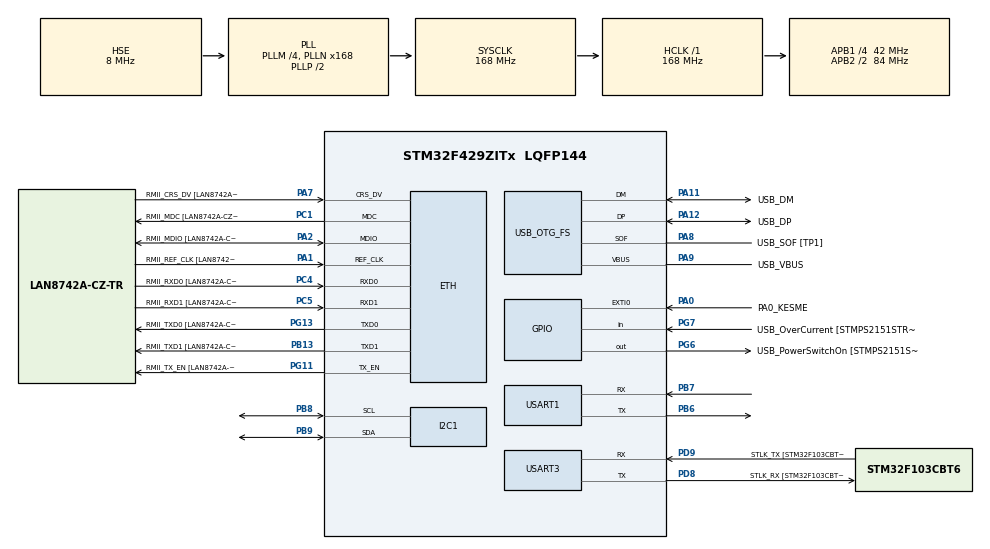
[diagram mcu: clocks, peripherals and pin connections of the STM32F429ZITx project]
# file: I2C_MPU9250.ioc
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ETH.MediaInterface=HAL_ETH_RMII_MODE
ETH.PHY_Name=LAN8742A_PHY_ADDRESS
ETH.PHY_Value=0
ETH.PhyAddress=0
Mcu.Family=STM32F4
Mcu.Name=STM32F429ZITx
Mcu.Package=LQFP144
NVIC.PriorityGroup=NVIC_PRIORITYGROUP_4
PA0/WKUP.GPIO_Label=PA0_KESME
PA0/WKUP.Signal=GPXTI0
PA1.GPIO_Label=RMII_REF_CLK [LAN8742A-CZ-TR_REFCLK0]
PA1.Mode=RMII
PA1.Signal=ETH_REF_CLK
PA11.GPIO_Label=USB_DM
PA11.Mode=Device_Only
PA11.Signal=USB_OTG_FS_DM
PA12.GPIO_Label=USB_DP
PA12.Mode=Device_Only
PA12.Signal=USB_OTG_FS_DP
PA13.GPIO_Label=TMS
PA13.Mode=Trace_Asynchronous_SW
PA13.Signal=SYS_JTMS-SWDIO
PA14.GPIO_Label=TCK
PA14.Mode=Trace_Asynchronous_SW
PA14.Signal=SYS_JTCK-SWCLK
PA2.GPIO_Label=RMII_MDIO [LAN8742A-CZ-TR_MDIO]
PA2.Mode=RMII
PA2.Signal=ETH_MDIO
PA7.GPIO_Label=RMII_CRS_DV [LAN8742A-CZ-TR_CRS_DV]
PA7.Mode=RMII
PA7.Signal=ETH_CRS_DV
PA8.GPIO_Label=USB_SOF [TP1]
PA8.Mode=Activate_SOF_FS
PA8.Signal=USB_OTG_FS_SOF
PA9.GPIO_Label=USB_VBUS
PA9.Mode=Activate_VBUS
PA9.Signal=USB_OTG_FS_VBUS
PB13.GPIO_Label=RMII_TXD1 [LAN8742A-CZ-TR_TXD1]
PB13.Mode=RMII
PB13.Signal=ETH_TXD1
PB3.Mode=Trace_Asynchronous_SW
PB3.Signal=SYS_JTDO-SWO
PB6.Mode=Asynchronous
PB6.Signal=USART1_TX
PB7.Mode=Asynchronous
PB7.Signal=USART1_RX
PB8.Mode=I2C
PB8.Signal=I2C1_SCL
PB9.Mode=I2C
PB9.Signal=I2C1_SDA
PC1.GPIO_Label=RMII_MDC [LAN8742A-CZ-TR_MDC]
PC1.Mode=RMII
PC1.Signal=ETH_MDC
PC14/OSC32_IN.Mode=LSE-External-Oscillator
PC14/OSC32_IN.Signal=RCC_OSC32_IN
PC15/OSC32_OUT.Mode=LSE-External-Oscillator
PC15/OSC32_OUT.Signal=RCC_OSC32_OUT
PC4.GPIO_Label=RMII_RXD0 [LAN8742A-CZ-TR_RXD0]
PC4.Mode=RMII
PC4.Signal=ETH_RXD0
PC5.GPIO_Label=RMII_RXD1 [LAN8742A-CZ-TR_RXD1]
PC5.Mode=RMII
PC5.Signal=ETH_RXD1
PD8.GPIO_Label=STLK_RX [STM32F103CBT6_PA3]
PD8.Mode=Asynchronous
PD8.Signal=USART3_TX
PD9.GPIO_Label=STLK_TX [STM32F103CBT6_PA2]
PD9.Mode=Asynchronous
PD9.Signal=USART3_RX
PG11.GPIO_Label=RMII_TX_EN [LAN8742A-CZ-TR_TXEN]
PG11.Mode=RMII
PG11.Signal=ETH_TX_EN
PG13.GPIO_Label=RMII_TXD0 [LAN8742A-CZ-TR_TXD0]
PG13.Mode=RMII
PG13.Signal=ETH_TXD0
PG6.GPIO_Label=USB_PowerSwitchOn [STMPS2151STR_EN]
PG6.Signal=GPIO_Output
PG7.GPIO_Label=USB_OverCurrent [STMPS2151STR_FAULT]
PG7.Signal=GPIO_Input
PH0/OSC_IN.GPIO_Label=MCO [STM32F103CBT6_PA8]
PH0/OSC_IN.Mode=HSE-External-Oscillator
PH0/OSC_IN.Signal=RCC_OSC_IN
PH1/OSC_OUT.Mode=HSE-External-Oscillator
PH1/OSC_OUT.Signal=RCC_OSC_OUT
ProjectManager.HeapSize=0x200
ProjectManager.StackSize=0x400
ProjectManager.TargetToolchain=STM32CubeIDE
RCC.48MHZClocksFreq_Value=48000000
RCC.AHBFreq_Value=168000000
RCC.APB1CLKDivider=RCC_HCLK_DIV4
RCC.APB1Freq_Value=42000000
RCC.APB1TimFreq_Value=84000000
RCC.APB2CLKDivider=RCC_HCLK_DIV2
RCC.APB2Freq_Value=84000000
RCC.APB2TimCLKDivider=2
RCC.APB2TimFreq_Value=168000000
RCC.CortexFreq_Value=168000000
RCC.HCLKFreq_Value=168000000
RCC.HSE_VALUE=8000000
RCC.HSI_VALUE=16000000
RCC.PLLM=4
RCC.PLLMUL=RCC_PLL_MUL9
RCC.PLLN=168
RCC.PLLQ=7
RCC.PRESCALERUSB=RCC_USBCLKSOURCE_PLL_DIV1_5
RCC.SYSCLKFreq_VALUE=168000000
RCC.SYSCLKSource=RCC_SYSCLKSOURCE_PLLCLK
RCC.SYSCLKSourceVirtual=RCC_SYSCLKSOURCE_PLLCLK
RCC.USBFreq_Value=48000000
RCC.VCOOutputFreq_Value=336000000
USART1.VirtualMode=VM_ASYNC
USART3.VirtualMode=VM_ASYNC
USB_OTG_FS.VirtualMode=Device_Only
board=NUCLEO-F429ZI

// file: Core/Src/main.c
/* USER CODE BEGIN Header */
/**
  ******************************************************************************
  * @file           : main.c
  * @brief          : Main program body
  ******************************************************************************
  * @attention
  *
  * Copyright (c) 2024 STMicroelectronics.
  * All rights reserved.
  *
  * This software is licensed under terms that can be found in the LICENSE file
  * in the root directory of this software component.
  * If no LICENSE file comes with this software, it is provided AS-IS.
  *
  ******************************************************************************
  */
/* USER CODE END Header */
#include "main.h"
#include "eth.h"
#include "i2c.h"
#include "usart.h"
#include "usb_otg.h"
#include "gpio.h"
#include <math.h>
#include <stdio.h>

/* USER CODE BEGIN PD */
#define MPU9250_ADDR_1 0x69
#define WHO_AM_I_REG 0x75
#define PWR_MGMT_1_REG 0x6B
#define ACCEL_CONFIG_REG 0x1C
#define GYRO_CONFIG_REG 0x1B
#define ACCEL_XOUT_H 0x3B
/* USER CODE END PD */

void SystemClock_Config(void);

/* USER CODE BEGIN 0 */
void MPU9250_Init(void){
	uint8_t check;
	uint8_t data;
	HAL_I2C_Mem_Read(&hi2c1, MPU9250_ADDR_1, WHO_AM_I_REG, 1, &check, 1, 1000);
	if(check == 0x71){
		data = 0;
	HAL_I2C_Mem_Write(&hi2c1, MPU9250_ADDR_1, PWR_MGMT_1_REG, 1, &data, 1, 1000);
	data = 0x00; // +- 2g
	        HAL_I2C_Mem_Write(&hi2c1, MPU9250_ADDR_1, ACCEL_CONFIG_REG, 1, &data, 1, 1000);
	       data = 0x00; // +- 250 degrees/s
	             HAL_I2C_Mem_Write(&hi2c1, MPU9250_ADDR_1, GYRO_CONFIG_REG, 1, &data, 1, 1000);
	}
}

void MPU9250_Read_Accel(int16_t* accelData) {
    uint8_t Rec_Data[6];

    HAL_I2C_Mem_Read(&hi2c1, MPU9250_ADDR_1, ACCEL_XOUT_H, 1, Rec_Data, 6, 1000);

    accelData[0] = (int16_t)(Rec_Data[0] << 8 | Rec_Data[1]); // X-axis
    accelData[1] = (int16_t)(Rec_Data[2] << 8 | Rec_Data[3]); // Y-axis
    accelData[2] = (int16_t)(Rec_Data[4] << 8 | Rec_Data[5]); // Z-axis
}

void MPU9250_Read_Gyro(int16_t* gyroData) {
    uint8_t Rec_Data[6];

    HAL_I2C_Mem_Read(&hi2c1, MPU9250_ADDR_1, 0x43, 1, Rec_Data, 6, 1000);

    gyroData[0] = (int16_t)(Rec_Data[0] << 8 | Rec_Data[1]); // X-axis
    gyroData[1] = (int16_t)(Rec_Data[2] << 8 | Rec_Data[3]); // Y-axis
    gyroData[2] = (int16_t)(Rec_Data[4] << 8 | Rec_Data[5]); // Z-axis
}

void MPU9250_Accel_To_Angle(int16_t* accelData, float* angles) {
    float ax = accelData[0] / 16384.0; // Assuming +- 2g
    float ay = accelData[1] / 16384.0;
    float az = accelData[2] / 16384.0;

    angles[0] = atan2(ay, az) * 180 / M_PI; // Roll
    angles[1] = atan2(-ax, sqrt(ay * ay + az * az)) * 180 / M_PI; // Pitch
    // Yaw hesaplamak için jiroskop verileri gereklidir
}
int _write(int file, char *ptr, int len)
{
  /* Printf Ekrana Yazdırma Fonksiyonu */
  int i=0;
  for(i=0 ; i<len ; i++)
    ITM_SendChar((*ptr++));
  return len;
}
/* USER CODE END 0 */

int16_t accelData[3];
float angles[2];
int main(void)
{

  /* MCU Configuration--------------------------------------------------------*/

  /* Reset of all peripherals, Initializes the Flash interface and the Systick. */
  HAL_Init();

  /* Configure the system clock */
  SystemClock_Config();

  /* Initialize all configured peripherals */
  MX_GPIO_Init();
  MX_ETH_Init();
  MX_USART3_UART_Init();
  MX_USB_OTG_FS_PCD_Init();
  MX_I2C1_Init();
  MX_USART1_UART_Init();
  /* USER CODE BEGIN 2 */
  //int16_t accelData[3];
  //float angles[2];
  /* USER CODE END 2 */

  /* Infinite loop */
  while (1)
  {
	  MPU9250_Read_Accel(accelData);
	  MPU9250_Accel_To_Angle(accelData, angles);
	  printf("Roll: %.2f, Pitch: %.2f\n", angles[0], angles[1]);

  }
}

void SystemClock_Config(void)
{
  RCC_OscInitTypeDef RCC_OscInitStruct = {0};
  RCC_ClkInitTypeDef RCC_ClkInitStruct = {0};

  /** Configure the main internal regulator output voltage
  */
  __HAL_RCC_PWR_CLK_ENABLE();
  __HAL_PWR_VOLTAGESCALING_CONFIG(PWR_REGULATOR_VOLTAGE_SCALE1);

  /** Initializes the RCC Oscillators according to the specified parameters
  * in the RCC_OscInitTypeDef structure.
  */
  RCC_OscInitStruct.OscillatorType = RCC_OSCILLATORTYPE_HSE;
  RCC_OscInitStruct.HSEState = RCC_HSE_ON;
  RCC_OscInitStruct.PLL.PLLState = RCC_PLL_ON;
  RCC_OscInitStruct.PLL.PLLSource = RCC_PLLSOURCE_HSE;
  RCC_OscInitStruct.PLL.PLLM = 4;
  RCC_OscInitStruct.PLL.PLLN = 168;
  RCC_OscInitStruct.PLL.PLLP = RCC_PLLP_DIV2;
  RCC_OscInitStruct.PLL.PLLQ = 7;
  if (HAL_RCC_OscConfig(&RCC_OscInitStruct) != HAL_OK)
  {
    Error_Handler();
  }

  /** Initializes the CPU, AHB and APB buses clocks
  */
  RCC_ClkInitStruct.ClockType = RCC_CLOCKTYPE_HCLK|RCC_CLOCKTYPE_SYSCLK
                              |RCC_CLOCKTYPE_PCLK1|RCC_CLOCKTYPE_PCLK2;
  RCC_ClkInitStruct.SYSCLKSource = RCC_SYSCLKSOURCE_PLLCLK;
  RCC_ClkInitStruct.AHBCLKDivider = RCC_SYSCLK_DIV1;
  RCC_ClkInitStruct.APB1CLKDivider = RCC_HCLK_DIV4;
  RCC_ClkInitStruct.APB2CLKDivider = RCC_HCLK_DIV2;

  if (HAL_RCC_ClockConfig(&RCC_ClkInitStruct, FLASH_LATENCY_5) != HAL_OK)
  {
    Error_Handler();
  }
}

void Error_Handler(void)
{
  __disable_irq();
  while (1)
  {
  }
}
